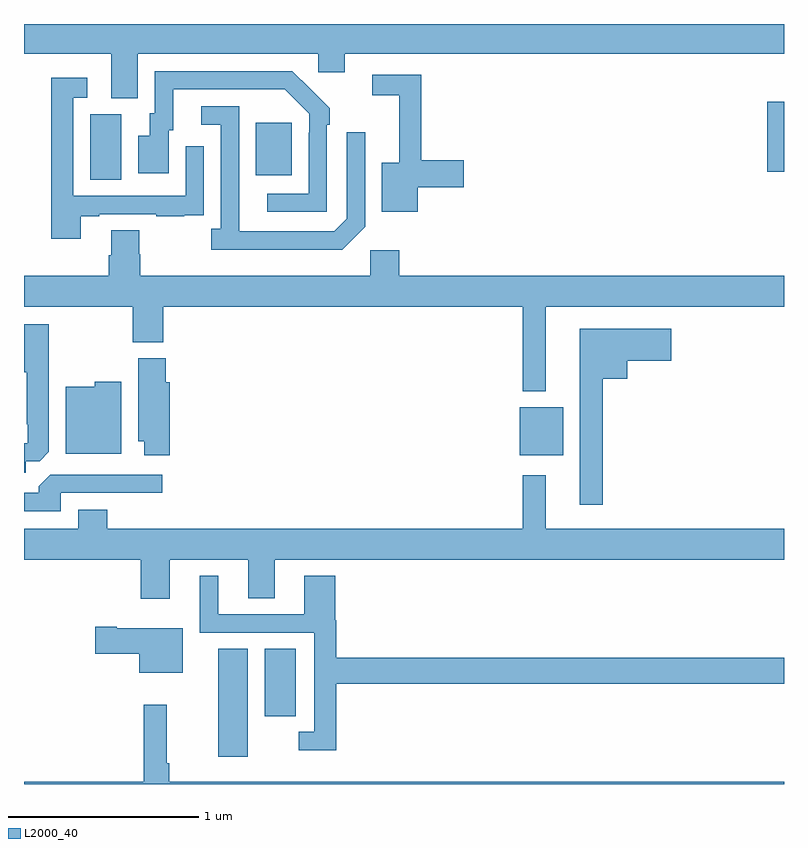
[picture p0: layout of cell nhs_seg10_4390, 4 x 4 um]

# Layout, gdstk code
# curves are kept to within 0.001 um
import gdstk
lib = gdstk.Library(unit=1e-6, precision=1e-09)
def R(c, l, rs):  # rectangles x0, y0, x1, y1
    for r in rs: c.add(gdstk.rectangle(r[:2], r[2:], *l))
def P(c, l, *ps):  # polygons
    for p in ps: c.add(gdstk.Polygon(p, *l))
L2000_40 = (2000, 40)

nhs_seg10_4390 = lib.new_cell('nhs_seg10_4390')
R(nhs_seg10_4390, L2000_40, [(360.023,1268.643,360.178,1269.212), (360.266,1268.856,360.43,1269.212), (361.61,1270.229,361.837,1270.483), (359.348,1271.68,359.512,1272.024), (360.221,1271.705,360.409,1271.98), (362.912,1271.723,363,1272.091)])
P(nhs_seg10_4390, L2000_40, [(359.599,1272.344),(360.549,1272.344),(360.549,1272.246),(360.688,1272.246),(360.688,1272.344),(363,1272.344),(363,1272.5),(359,1272.5),(359,1272.344),(359.459,1272.344),(359.459,1272.109),(359.599,1272.109)],
  [(360.594,1271.969),(360.609,1271.969),(360.609,1272.057),(360.412,1272.252),(359.688,1272.252),(359.688,1272.03),(359.663,1272.03),(359.663,1271.911),(359.6,1271.911),(359.6,1271.715),(359.761,1271.715),(359.761,1271.94),(359.785,1271.94),(359.785,1272.156),(360.373,1272.156),(360.501,1272.027),(360.501,1271.927),(360.498,1271.927),(360.498,1271.607),(360.279,1271.607),(360.279,1271.511),(360.594,1271.511)],
  [(361.072,1271.641),(361.315,1271.641),(361.315,1271.783),(361.091,1271.783),(361.091,1272.234),(360.834,1272.234),(360.834,1272.126),(360.974,1272.126),(360.974,1271.77),(360.884,1271.77),(360.884,1271.513),(361.072,1271.513)],
  [(359.299,1271.487),(359.395,1271.487),(359.395,1271.499),(359.695,1271.499),(359.695,1271.487),(359.843,1271.487),(359.843,1271.493),(359.945,1271.493),(359.945,1271.602),(359.946,1271.602),(359.946,1271.857),(359.85,1271.857),(359.85,1271.595),(359.259,1271.595),(359.259,1272.111),(359.332,1272.111),(359.332,1272.217),(359.143,1272.217),(359.143,1271.37),(359.299,1271.37)],
  [(360.795,1271.433),(360.795,1271.929),(360.699,1271.929),(360.699,1271.475),(360.633,1271.409),(360.133,1271.409),(360.132,1272.066),(359.934,1272.066),(359.934,1271.97),(360.036,1271.97),(360.036,1271.422),(359.985,1271.422),(359.985,1271.312),(360.674,1271.312)],
  [(361.747,1271.012),(363,1271.012),(363,1271.176),(360.974,1271.176),(360.974,1271.308),(360.822,1271.308),(360.822,1271.176),(359.612,1271.176),(359.612,1271.289),(359.607,1271.289),(359.607,1271.414),(359.459,1271.414),(359.459,1271.282),(359.447,1271.282),(359.447,1271.176),(359,1271.176),(359,1271.012),(359.572,1271.012),(359.572,1270.825),(359.732,1270.825),(359.732,1271.012),(361.626,1271.012),(361.626,1270.568),(361.747,1270.568)],
  [(359.008,1270.2),(359.082,1270.2),(359.131,1270.249),(359.131,1270.921),(359,1270.921),(359,1270.667),(359.015,1270.667),(359.015,1270.393),(359.019,1270.393),(359.019,1270.293),(359,1270.293),(359,1270.139),(359.008,1270.139)],
  [(362.047,1270.634),(362.176,1270.634),(362.176,1270.727),(362.407,1270.727),(362.407,1270.897),(361.925,1270.897),(361.925,1269.969),(362.047,1269.969)],
  [(359.768,1270.614),(359.747,1270.614),(359.747,1270.74),(359.6,1270.74),(359.6,1270.304),(359.633,1270.304),(359.633,1270.23),(359.768,1270.23)],
  [(359.512,1270.618),(359.373,1270.618),(359.373,1270.591),(359.219,1270.591),(359.219,1270.238),(359.512,1270.238)],
  [(359.193,1270.032),(359.728,1270.032),(359.728,1270.128),(359.139,1270.128),(359.078,1270.066),(359.078,1270.032),(359,1270.032),(359,1269.936),(359.193,1269.936)],
  [(359.767,1269.68),(360.179,1269.68),(360.179,1269.478),(360.319,1269.478),(360.319,1269.68),(363,1269.68),(363,1269.844),(361.747,1269.844),(361.747,1270.126),(361.626,1270.126),(361.626,1269.844),(359.438,1269.844),(359.438,1269.943),(359.285,1269.943),(359.285,1269.844),(359,1269.844),(359,1269.68),(359.615,1269.68),(359.615,1269.474),(359.767,1269.474)],
  [(360.644,1269.028),(363,1269.028),(363,1269.164),(360.644,1269.164),(360.644,1269.362),(360.638,1269.362),(360.638,1269.595),(360.476,1269.595),(360.476,1269.393),(360.022,1269.393),(360.022,1269.595),(359.924,1269.595),(359.924,1269.297),(360.528,1269.297),(360.528,1268.775),(360.447,1268.775),(360.447,1268.678),(360.644,1268.678)],
  [(359.836,1269.319),(359.488,1269.319),(359.488,1269.327),(359.376,1269.327),(359.376,1269.185),(359.606,1269.185),(359.606,1269.086),(359.836,1269.086)],
  [(363,1268.512),(359.765,1268.512),(359.765,1268.608),(359.75,1268.608),(359.75,1268.917),(359.629,1268.917),(359.629,1268.512),(359,1268.512),(359,1268.5),(363,1268.5)])

lib.write_gds('nhs_seg10_4390.gds')
